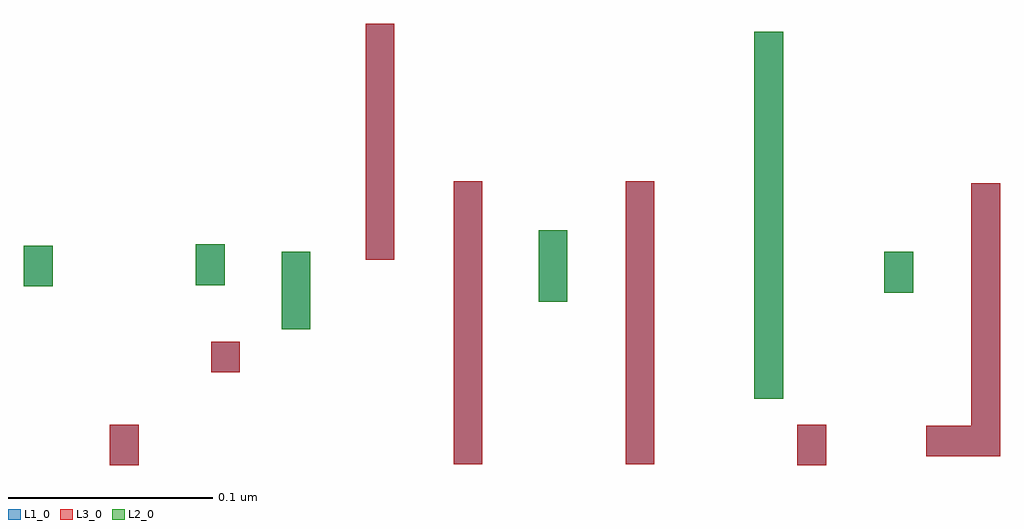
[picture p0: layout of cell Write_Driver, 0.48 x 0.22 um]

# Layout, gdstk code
import gdstk
lib = gdstk.Library(unit=1e-6, precision=5e-10)
def R(c, l, rs):  # rectangles x0, y0, x1, y1
    for r in rs: c.add(gdstk.rectangle(r[:2], r[2:], *l))
def P(c, l, *ps):  # polygons
    for p in ps: c.add(gdstk.Polygon(p, *l))
L1_0 = (1, 0)
L2_0 = (2, 0)
L3_0 = (3, 0)

inverter_write_driver = lib.new_cell('inverter_write_driver')
R(inverter_write_driver, L1_0, [(0.0215,-0.0415,0.0355,0.097)])
R(inverter_write_driver, L3_0, [(0.0215,-0.0415,0.0355,0.097)])

write_driver = lib.new_cell('Write_Driver')
R(write_driver, L1_0, [(-0.019,0.04,-0.005,0.06), (0.317,0.04,0.331,0.06), (0.296,0.0725,0.31,0.252), (0.0305,0.0855,0.0445,0.1005), (0.065,0.1065,0.079,0.1445), (0.1905,0.12,0.2045,0.155), (0.3595,0.1245,0.3735,0.1445), (-0.061,0.1275,-0.047,0.1475), (0.023,0.128,0.037,0.148), (0.106,0.1405,0.12,0.256)])
P(write_driver, L1_0, [(0.416,0.178),(0.416,0.0445),(0.38,0.0445),(0.38,0.0595),(0.402,0.0595),(0.402,0.178)])
R(write_driver, L2_0, [(0.296,0.0725,0.31,0.252), (0.065,0.1065,0.079,0.1445), (0.1905,0.12,0.2045,0.155), (0.3595,0.1245,0.3735,0.1445), (-0.061,0.1275,-0.047,0.1475), (0.023,0.128,0.037,0.148)])
R(write_driver, L3_0, [(-0.019,0.04,-0.005,0.06), (0.317,0.04,0.331,0.06), (0.0305,0.0855,0.0445,0.1005), (0.106,0.1405,0.12,0.256)])
P(write_driver, L3_0, [(0.416,0.178),(0.416,0.0445),(0.38,0.0445),(0.38,0.0595),(0.402,0.0595),(0.402,0.178)])
write_driver.add(gdstk.Reference(inverter_write_driver, (0.2115,0.082)))
write_driver.add(gdstk.Reference(inverter_write_driver, (0.1275,0.082)))

lib.write_gds('Write_Driver.gds')
